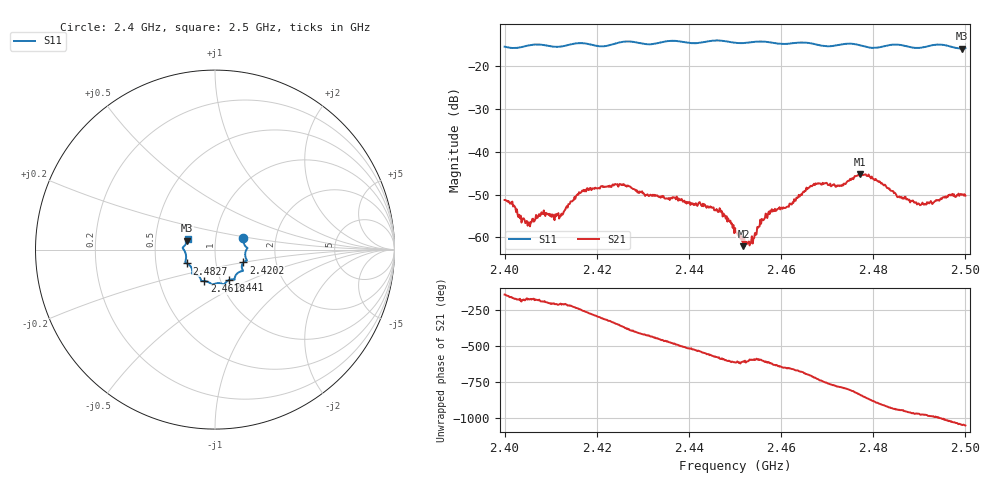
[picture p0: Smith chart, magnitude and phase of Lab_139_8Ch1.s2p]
# Hz S RI R 50
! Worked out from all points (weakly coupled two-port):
!   601 points, 2.4 GHz to 2.5 GHz, reference 50 ohm
!   highest |S21| = -45.23 dB at 2.4772 GHz (marker M1); lowest = -62.1 dB at 2.4518 GHz (marker M2)
!   lowest |S11| = -15.8 dB at 2.4992 GHz (marker M3), VSWR 1.39, Z = 36.5 + j3.67 ohm
!   |S11| at or under -10 dB: start of sweep to end of sweep
!   S12 and S22 are empty: the file has one direction only
!   S11 on the Smith chart (normalised r, x): 2.4 GHz: 1.36, +0.18; 2.4202 GHz: 1.36, -0.20; 2.441 GHz: 1.10, -0.39; 2.4618 GHz: 0.84, -0.30; 2.4827 GHz: 0.72, -0.11; 2.5 GHz: 0.73, +0.09
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2.4e9  0.1582 0.0629  -0.00209 -0.00176  0 0  0 0
2.405333e9  0.1765 0.0127  -0.00148 -0.00016  0 0  0 0
2.408e9  0.1796 0.00666  -0.00194 0.000272  0 0  0 0
2.412333e9  0.1683 -0.032  -0.00163 0.000958  0 0  0 0
2.416667e9  0.1774 -0.0607  -0.0013 0.00313  0 0  0 0
2.420167e9  0.1582 -0.0713  0.00149 0.00341  0 0  0 0
2.4255e9  0.1555 -0.1157  0.00416 -0.000158  0 0  0 0
2.433333e9  0.1116 -0.1511  0.0001 -0.00301  0 0  0 0
2.441e9  0.0785 -0.1696  -0.00228 -0.000737  0 0  0 0
2.447167e9  0.0472 -0.1942  -0.00144 0.00142  0 0  0 0
2.45e9  0.0284 -0.1873  -0.000378 0.00123  0 0  0 0
2.451833e9  0.00943 -0.1875  -0.000331 0.000716  0 0  0 0
2.453667e9  -0.00557 -0.1924  -0.000617 0.000824  0 0  0 0
2.457667e9  -0.0228 -0.1898  -0.00048 0.002  0 0  0 0
2.461833e9  -0.0593 -0.1756  0.000937 0.0023  0 0  0 0
2.466667e9  -0.0786 -0.1684  0.00388 0.000802  0 0  0 0
2.477167e9  -0.1266 -0.1232  -0.00259 -0.00483  0 0  0 0
2.482667e9  -0.1562 -0.0772  -0.00389 0.00116  0 0  0 0
2.483333e9  -0.1604 -0.0753  -0.00335 0.00159  0 0  0 0
2.49e9  -0.1632 -0.0237  -0.000792 0.0023  0 0  0 0
2.499167e9  -0.1544 0.049  0.00264 0.00173  0 0  0 0
2.5e9  -0.1519 0.0609  0.00271 0.00145  0 0  0 0
